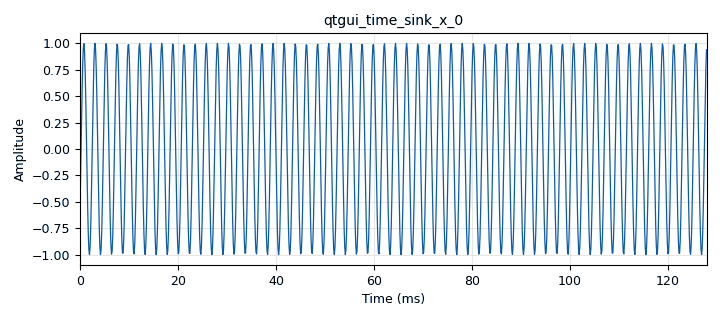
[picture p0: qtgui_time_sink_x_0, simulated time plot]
options:
  parameters:
    author: jass
    generate_options: qt_gui
    id: lab01teste
    output_language: python
    title: Not titled yet
  states: {}

blocks:
- name: samp_rate
  id: variable
  parameters:
    value: '8000'
  states: {}
- name: analog_sig_source_x_0
  id: analog_sig_source_x
  parameters:
    amp: '1'
    freq: '440'
    offset: '0'
    phase: '0'
    samp_rate: samp_rate
    type: float
    waveform: analog.GR_COS_WAVE
  states: {}
- name: blocks_throttle_0
  id: blocks_throttle
  parameters:
    samples_per_second: samp_rate
    type: float
  states: {}
- name: qtgui_time_sink_x_0
  id: qtgui_time_sink_x
  parameters:
    autoscale: 'True'
    grid: 'True'
    size: '1024'
    srate: samp_rate
    type: float
  states: {}

connections:
- [analog_sig_source_x_0, '0', blocks_throttle_0, '0']
- [blocks_throttle_0, '0', qtgui_time_sink_x_0, '0']

metadata:
  file_format: 1
  grc_version: 3.10.9.2
